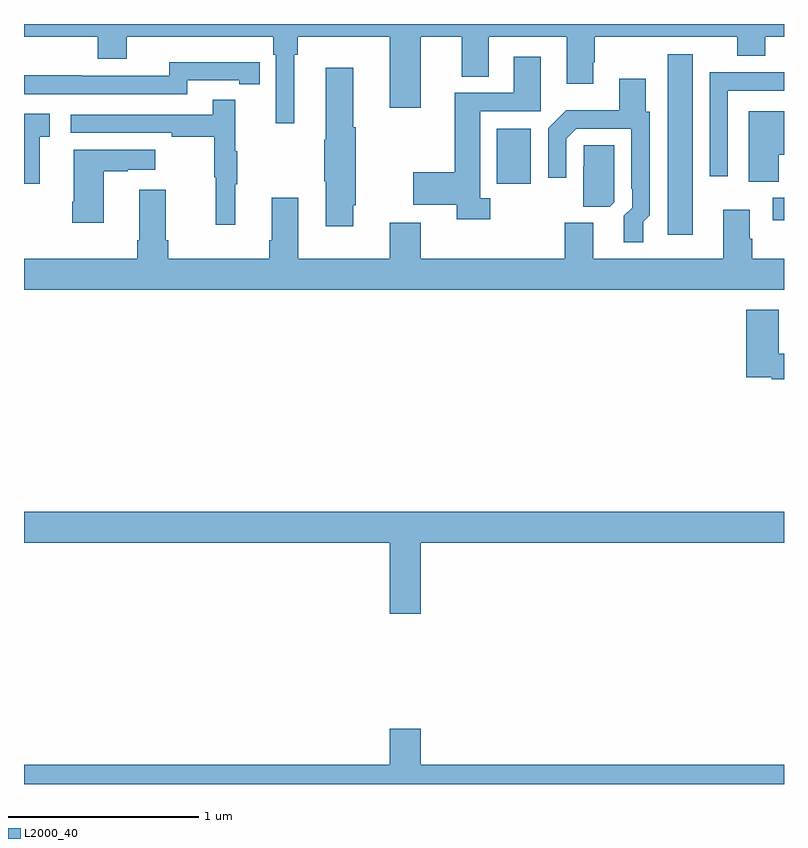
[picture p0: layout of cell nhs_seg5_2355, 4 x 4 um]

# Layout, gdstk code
import gdstk
lib = gdstk.Library(unit=1e-6, precision=1e-09)
def R(c, l, rs):  # rectangles x0, y0, x1, y1
    for r in rs: c.add(gdstk.rectangle(r[:2], r[2:], *l))
def P(c, l, *ps):  # polygons
    for p in ps: c.add(gdstk.Polygon(p, *l))
L2000_40 = (2000, 40)

nhs_seg5_2355 = lib.new_cell('nhs_seg5_2355')
R(nhs_seg5_2355, L2000_40, [(250.388,883.689,250.519,884.641), (250.941,883.766,251,883.885), (249.488,883.958,249.667,884.248)])
P(nhs_seg5_2355, L2000_40, [(247,884.732),(247.388,884.732),(247.388,884.615),(247.54,884.615),(247.54,884.732),(248.312,884.732),(248.312,884.636),(248.325,884.636),(248.325,884.277),(248.422,884.277),(248.422,884.636),(248.441,884.636),(248.441,884.732),(248.924,884.732),(248.924,884.358),(249.088,884.358),(249.088,884.732),(249.305,884.732),(249.305,884.521),(249.445,884.521),(249.445,884.732),(249.857,884.732),(249.857,884.484),(249.997,884.484),(249.997,884.599),(250.005,884.599),(250.005,884.732),(250.754,884.732),(250.754,884.633),(250.902,884.633),(250.902,884.732),(251,884.732),(251,884.799),(247,884.799)],
  [(249.454,883.882),(249.4,883.882),(249.4,884.34),(249.721,884.34),(249.721,884.626),(249.578,884.626),(249.578,884.436),(249.266,884.436),(249.266,884.018),(249.048,884.018),(249.048,883.847),(249.278,883.847),(249.278,883.772),(249.454,883.772)],
  [(247.86,884.502),(248.132,884.502),(248.132,884.482),(248.24,884.482),(248.24,884.598),(248.132,884.598),(248.132,884.599),(247.764,884.599),(247.764,884.526),(247.304,884.526),(247.304,884.528),(247,884.528),(247,884.43),(247.86,884.43)],
  [(248.734,883.846),(248.747,883.846),(248.747,884.256),(248.734,884.256),(248.734,884.569),(248.588,884.569),(248.588,884.189),(248.581,884.189),(248.581,883.972),(248.588,883.972),(248.588,883.734),(248.734,883.734)],
  [(250.704,884.447),(250.705,884.447),(250.705,884.448),(251,884.448),(251,884.546),(250.99,884.546),(250.99,884.544),(250.608,884.544),(250.608,883.998),(250.704,883.998)],
  [(250.258,883.758),(250.293,883.793),(250.293,884.337),(250.273,884.337),(250.273,884.512),(250.133,884.512),(250.133,884.344),(249.853,884.344),(249.759,884.25),(249.759,883.989),(249.855,883.989),(249.855,884.196),(249.906,884.247),(250.197,884.247),(250.197,883.933),(250.2,883.933),(250.2,883.833),(250.157,883.79),(250.157,883.65),(250.258,883.65)],
  [(248.111,883.955),(248.122,883.955),(248.122,884.129),(248.111,884.129),(248.111,884.401),(247.993,884.401),(247.993,884.322),(247.245,884.322),(247.245,884.226),(247.777,884.226),(247.777,884.206),(248.001,884.206),(248.001,883.992),(248.008,883.992),(248.008,883.743),(248.111,883.743)],
  [(250.972,884.111),(251,884.111),(251,884.341),(250.814,884.341),(250.814,883.97),(250.972,883.97)],
  [(247.082,884.205),(247.135,884.205),(247.135,884.326),(247,884.326),(247,883.959),(247.082,883.959)],
  [(250.107,883.86),(250.107,884.162),(249.945,884.162),(249.945,884.051),(249.944,884.051),(249.944,883.837),(250.083,883.837)],
  [(247.42,884.023),(247.547,884.023),(247.547,884.033),(247.69,884.033),(247.69,884.137),(247.262,884.137),(247.262,883.864),(247.255,883.864),(247.255,883.752),(247.42,883.752)],
  [(251,883.564),(250.832,883.564),(250.832,883.67),(250.819,883.67),(250.819,883.822),(250.679,883.822),(250.679,883.564),(249.997,883.564),(249.997,883.752),(249.845,883.752),(249.845,883.564),(249.088,883.564),(249.088,883.753),(248.924,883.753),(248.924,883.564),(248.443,883.564),(248.443,883.885),(248.303,883.885),(248.303,883.66),(248.291,883.66),(248.291,883.564),(247.76,883.564),(247.76,883.66),(247.747,883.66),(247.747,883.927),(247.607,883.927),(247.607,883.66),(247.595,883.66),(247.595,883.564),(247,883.564),(247,883.4),(251,883.4)],
  [(251,883.063),(250.972,883.063),(250.972,883.294),(250.802,883.294),(250.802,882.941),(250.935,882.941),(250.935,882.929),(251,882.929)],
  [(249.088,882.068),(251,882.068),(251,882.232),(247,882.232),(247,882.068),(248.924,882.068),(248.924,881.694),(249.088,881.694)],
  [(251,880.9),(249.088,880.9),(249.088,881.089),(248.924,881.089),(248.924,880.9),(247,880.9),(247,880.799),(251,880.799)])

lib.write_gds('nhs_seg5_2355.gds')
